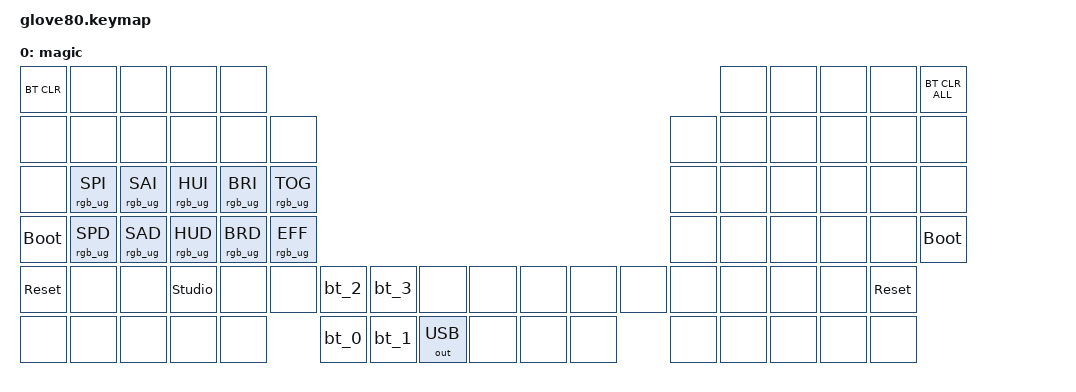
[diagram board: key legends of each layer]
/*
 * Copyright (c) 2020 The ZMK Contributors
 *
 * SPDX-License-Identifier: MIT
 */

#define ZMK_POINTING_DEFAULT_MOVE_VAL 1500
#define ZMK_POINTING_DEFAULT_SCRL_VAL 20

#include <behaviors.dtsi>
#include <dt-bindings/zmk/keys.h>
#include <dt-bindings/zmk/bt.h>
#include <dt-bindings/zmk/ext_power.h>
#include <dt-bindings/zmk/outputs.h>
#include <dt-bindings/zmk/pointing.h>
#include <dt-bindings/zmk/rgb.h>
#include <input/processors.dtsi>

#include "zmk-helpers/helper.h"
#include "zmk-helpers/key-labels/glove80.h"
#include "labels.h"
#include "helpers.h"

// layers
#define BASE 0
#define NUM 1
#define NAV 2
#define SYS 3
#define SYM 4
#define MOUSE 5
#define MOUSESLOW 6
#define MOUSEFAST 7
#define MAGIC 8


#define ___ &trans

&mmv_input_listener {
    MOUSESLOW {
        layers = <MOUSESLOW>;
        input-processors = <&zip_xy_scaler 1 3>;
    };
    MOUSEFAST {
        layers = <MOUSEFAST>;
        input-processors = <&zip_xy_scaler 3 1>;
    };
};

&msc_input_listener {
    MOUSESLOW {
        layers = <MOUSESLOW>;
        input-processors = <&zip_scroll_scaler 1 3>;
    };
    MOUSEFAST {
        layers = <MOUSEFAST>;
        input-processors = <&zip_scroll_scaler 3 1>;
    };
};

/ {
    behaviors {
        magic: magic {
            compatible = "zmk,behavior-hold-tap";
            label = "MAGIC_HOLD_TAP";
            #binding-cells = <2>;
            flavor = "tap-preferred";
            tapping-term-ms = <200>;
            bindings = <&mo>, <&rgb_ug_status_macro>;
        };
        hml: home_row_mod_left {
            compatible = "zmk,behavior-hold-tap";
            #binding-cells = <2>;
            flavor = "balanced";
            require-prior-idle-ms = <100>;
            tapping-term-ms = <190>;
            quick-tap-ms = <300>;
            bindings = <&kp>, <&kp>;
            hold-trigger-key-positions = <KEYS_R THUMBS>;
            hold-trigger-on-release;
        };
        hmr: home_row_mod_right {
            compatible = "zmk,behavior-hold-tap";
            #binding-cells = <2>;
            flavor = "balanced";
            require-prior-idle-ms = <100>;
            tapping-term-ms = <190>;
            quick-tap-ms = <300>;
            bindings = <&kp>, <&kp>;
            hold-trigger-key-positions = <KEYS_L THUMBS>;
            hold-trigger-on-release;
        };
        thumb: thumb_layer {
            compatible = "zmk,behavior-hold-tap";
            #binding-cells = <2>;
            flavor = "balanced";
            tapping-term-ms = <200>;
            bindings = <&mo>, <&kp>;
            quick-tap-ms = <250>;
        };

        bt_0: bt_0 {
            compatible = "zmk,behavior-tap-dance";
            label = "BT_0";
            #binding-cells = <0>;
            tapping-term-ms = <200>;
            bindings = <&bt_select_0>, <&bt BT_DISC 0>;
        };
        bt_1: bt_1 {
            compatible = "zmk,behavior-tap-dance";
            label = "BT_1";
            #binding-cells = <0>;
            tapping-term-ms = <200>;
            bindings = <&bt_select_1>, <&bt BT_DISC 1>;
        };
        bt_2: bt_2 {
            compatible = "zmk,behavior-tap-dance";
            label = "BT_2";
            #binding-cells = <0>;
            tapping-term-ms = <200>;
            bindings = <&bt_select_2>, <&bt BT_DISC 2>;
        };
        bt_3: bt_3 {
            compatible = "zmk,behavior-tap-dance";
            label = "BT_3";
            #binding-cells = <0>;
            tapping-term-ms = <200>;
            bindings = <&bt_select_3>, <&bt BT_DISC 3>;
        };
    };

    macros {
        rgb_ug_status_macro: rgb_ug_status_macro {
            label = "RGB_UG_STATUS";
            compatible = "zmk,behavior-macro";
            #binding-cells = <0>;
            bindings = <&rgb_ug RGB_STATUS>;
        };

        mod_tab_layer: mod_tab_layer {
            compatible = "zmk,behavior-macro-one-param";
            #binding-cells = <1>;
            bindings
                = <&macro_press &mo NAV>,
                  <&macro_param_1to1>,
                  <&macro_press &kp MACRO_PLACEHOLDER>,
                  <&macro_tap &kp TAB>,
                  <&macro_pause_for_release>,
                  <&macro_param_1to1>,
                  <&macro_release &kp MACRO_PLACEHOLDER>,
                  <&macro_release &mo NAV>;
        };

        bt_select_0: bt_select_0 {
            label = "BT_SELECT_0";
            compatible = "zmk,behavior-macro";
            #binding-cells = <0>;
            bindings
                = <&out OUT_BLE>,
                  <&bt BT_SEL 0>;
        };
        bt_select_1: bt_select_1 {
            label = "BT_SELECT_1";
            compatible = "zmk,behavior-macro";
            #binding-cells = <0>;
            bindings
                = <&out OUT_BLE>,
                  <&bt BT_SEL 1>;
        };
        bt_select_2: bt_select_2 {
            label = "BT_SELECT_2";
            compatible = "zmk,behavior-macro";
            #binding-cells = <0>;
            bindings
                = <&out OUT_BLE>,
                  <&bt BT_SEL 2>;
        };
        bt_select_3: bt_select_3 {
            label = "BT_SELECT_3";
            compatible = "zmk,behavior-macro";
            #binding-cells = <0>;
            bindings
                = <&out OUT_BLE>,
                  <&bt BT_SEL 3>;
        };
    };

    combos {
        compatible = "zmk,combos";

        combo_alttab_cursor {
            timeout-ms = <50>;
            key-positions = <LH1 LH2>;
            bindings = <&mod_tab_layer LALT>;
        };

        combo_open_paren {
            key-positions = <LB0 LB1>;
            bindings = <&kp LPAR>;
        };

        combo_close_paren {
            key-positions = <RB0 RB1>;
            bindings = <&kp RPAR>;
        };

        combo_open_bracket {
            key-positions = <LM0 LM1>;
            bindings = <&kp LBKT>;
        };

        combo_close_bracket {
            key-positions = <RM0 RM1>;
            bindings = <&kp RBKT>;
        };

        combo_open_brace {
            key-positions = <LT0 LT1>;
            bindings = <&kp LBRC>;
        };

        combo_close_brace {
            key-positions = <RT0 RT1>;
            bindings = <&kp RBRC>;
        };
    };
};

// -----------------------------------------------------------------------------------------------------------------------------------------
// |  F1   |  F2 |  F3 |  F4  |  F5  |                                                               |  F6   |  F7   |  F8  |   F9  |  F10 |
// |  =    |  1  |  2  |  3   |  4   |  5   |                                                 |  6   |   7   |   8   |  9   |   0   |   -  |
// |  TAB  |  Q  |  W  |  E   |  R   |  T   |                                                 |  Y   |   U   |   I   |  O   |   P   |   \  |
// |  ESC  |  A  |  S  |  D   |  F   |  G   |                                                 |  H   |   J   |   K   |  L   |   ;   |   '  |
// |   `   |  Z  |  X  |  C   |  V   |  B   | LSHFT | LCTRL | LOWER | | LGUI  | RCTRL | RSHFT |  N   |   M   |   ,   |  .   |   /   | PGUP |
// | MAGIC | HOME| END | LEFT | RIGHT|      | BSPC  | DEL   | LALT  | | RALT  | RET   | SPACE |      |  UP   | DOWN  |  [   |   ]   | PGDN |

ZMK_BASE_LAYER(base,
&kp TAB    &kp Q       &kp W       &kp E        &kp R        &kp T    ,    &kp Y  &kp U         &kp I         &kp O        &kp P           &kp BSLH,
&kp ESC    &hml LGUI A &hml LALT S &hml LCTRL D &hml LSHFT F &kp G    ,    &kp H  &hmr RSHFT J  &hmr RCTRL K  &hmr RALT L  &hmr RGUI SEMI  &kp SQT,
&kp LSHFT  &kp Z       &kp X       &kp C        &kp V        &kp B    ,    &kp N  &kp M         &kp COMMA     &kp DOT      &kp FSLH        &kp RSHFT,
                           &thumb NAV BSPC  &thumb NUM DEL  &mo SYS   ,    &caps_word  &thumb SYM RET   &thumb MOUSE SPACE
)

ZMK_BASE_LAYER(number,
___   &kp N1 &kp N2 &kp N3 &kp N4 &kp N5      ,    &kp N6     &kp N7        &kp N8        &kp N9       &kp N0       &none,
___   ___    ___     ___   ___    ___         ,    &kp N0     &hmr LSHFT N4 &hmr LCTRL N5 &hmr LALT N6 &hmr LGUI N0 &none,
___   &none  &none  &none  &none  &none       ,    &none      &kp N1        &kp N2        &kp N3       ___          ___,
                             ___  ___  ___    ,    ___  ___  ___
)

ZMK_BASE_LAYER(navigation,
&none     &kp LC(A) &kp SPACE &kp TAB   &kp BSPC  &kp LC(X)          ,     &kp LC(X)  &kp LS(TAB)  &kp LC(Z)  &kp LC(Y)  &kp TAB    &none,
&none     &kp LGUI  &kp LALT  &kp LCTRL &kp LSHFT &kp LC(C)          ,     &kp LEFT   &kp DOWN     &kp UP     &kp RIGHT  &kp LC(C)  &none,
&kp LC(L) &kp LC(Z) &kp LC(X) &kp LC(C) &kp LC(V) &kp LC(LS(V))      ,     &kp LC(V)  &kp HOME     &kp PG_UP  &kp PG_DN  &kp END    &kp LC(L),
                                                     ___  ___  ___   ,   ___  ___  ___
)

ZMK_BASE_LAYER(system,
___  &kp C_BRI_UP &kp C_MUTE &kp C_VOL_DN &kp C_VOL_UP &none      ,   &kp PAUSE_BREAK &kp F7 &kp F8 &kp F9 &kp F10 &none,
___  &kp C_BRI_DN &kp C_PREV &kp C_PP     &kp C_NEXT   &kp PSCRN  ,   &kp PSCRN       &kp F4 &kp F5 &kp F6 &kp F11 &none,
___  &kp LGUI     &kp LALT   &kp LCTRL    &kp LSHFT    &none      ,   &kp SLCK        &kp F1 &kp F2 &kp F3 &kp F12 ___,
                                                  ___  ___  ___   ,   ___  ___  ___
)

ZMK_BASE_LAYER(symbol,
&kp GRAVE  &kp LBKT  &kp LBRC  &kp RBRC  &kp RBKT &kp QMARK     ,     &kp GRAVE &none     &none     &none     &none    &none,
&kp HASH   &kp CARET &kp EQUAL &kp UNDER &kp DLLR &kp BSLH      ,     &kp DQT   &kp RSHFT &kp RCTRL &kp RALT  &kp RGUI &none,
&kp TILDE  &kp LT    &kp PIPE  &kp MINUS &kp GT   &kp PLUS      ,     &kp SQT   &none     &none     &kp SPACE &none    &none,
                                             ___  ___  ___      ,     ___  ___  ___
)


ZMK_BASE_LAYER(mouse,
&none  &none           &msc SCRL_LEFT  &mmv MOVE_UP    &msc SCRL_RIGHT  &none       ,    &none     &mo MOUSESLOW  &mo MOUSEFAST &none     &none     &none,
&none  &msc SCRL_UP    &mmv MOVE_LEFT  &mmv MOVE_DOWN  &mmv MOVE_RIGHT  &mkp MB5    ,    &mkp MB5  &sk RSHFT      &sk RCTRL     &sk RALT  &sk RGUI  &none,
&none  &msc SCRL_DOWN  &none           &mo MOUSESLOW   &mo MOUSEFAST    &mkp MB4    ,    &mkp MB4  &mkp LCLK      &mkp MCLK     &mkp RCLK &none     &none,
                                                &mkp LCLK    &mkp MCLK  &mkp RCLK   ,    ___  ___  ___
)

ZMK_BASE_LAYER(mouse_slow,
___ ___ ___ ___ ___ ___ , ___ ___ ___ ___ ___ ___,
___ ___ ___ ___ ___ ___ , ___ ___ ___ ___ ___ ___,
___ ___ ___ ___ ___ ___ , ___ ___ ___ ___ ___ ___,
            ___ ___ ___ , ___ ___ ___
)

ZMK_BASE_LAYER(mouse_fast,
___ ___ ___ ___ ___ ___ , ___ ___ ___ ___ ___ ___,
___ ___ ___ ___ ___ ___ , ___ ___ ___ ___ ___ ___,
___ ___ ___ ___ ___ ___ , ___ ___ ___ ___ ___ ___,
            ___ ___ ___ , ___ ___ ___
)

ZMK_LAYER(magic,
&bt BT_CLR   &none           &none           &none           &none                                                                                             &none  &none  &none  &none  &bt BT_CLR_ALL
&none        &none           &none           &none           &none           &none                                                                     &none   &none  &none  &none  &none  &none
&none        &rgb_ug RGB_SPI &rgb_ug RGB_SAI &rgb_ug RGB_HUI &rgb_ug RGB_BRI &rgb_ug RGB_TOG                                                           &none   &none  &none  &none  &none  &none
&bootloader  &rgb_ug RGB_SPD &rgb_ug RGB_SAD &rgb_ug RGB_HUD &rgb_ug RGB_BRD &rgb_ug RGB_EFF                                                           &none   &none  &none  &none  &none  &bootloader
&sys_reset   &none           &none           &studio_unlock  &none           &none           &bt_2   &bt_3   &none         &none  &none  &none   &none   &none  &none  &none  &none  &sys_reset
&none        &none           &none           &none           &none                           &bt_0   &bt_1   &out OUT_USB  &none  &none  &none           &none  &none  &none  &none  &none
)
